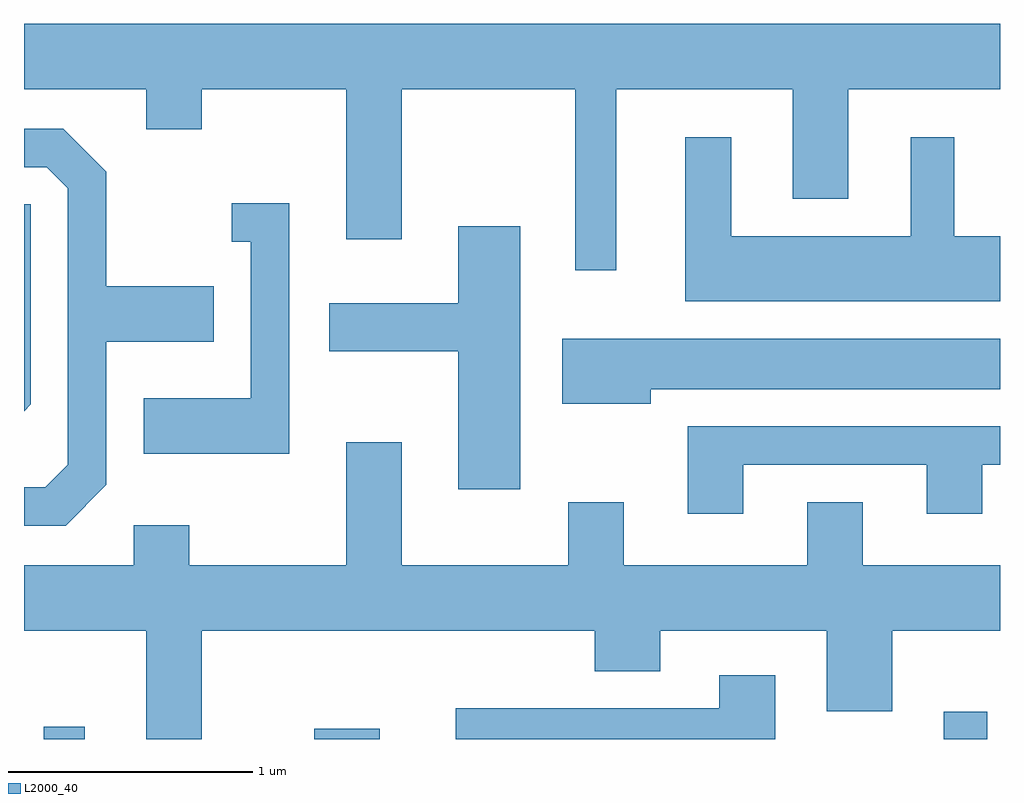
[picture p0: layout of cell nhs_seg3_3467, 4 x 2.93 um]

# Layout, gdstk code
import gdstk
lib = gdstk.Library(unit=1e-6, precision=1e-09)
def R(c, l, rs):  # rectangles x0, y0, x1, y1
    for r in rs: c.add(gdstk.rectangle(r[:2], r[2:], *l))
def P(c, l, *ps):  # polygons
    for p in ps: c.add(gdstk.Polygon(p, *l))
L2000_40 = (2000, 40)

nhs_seg3_3467 = lib.new_cell('nhs_seg3_3467')
R(nhs_seg3_3467, L2000_40, [(285.691,1249.892,285.859,1249.943), (286.801,1249.892,287.069,1249.934), (289.381,1249.892,289.559,1250.004)])
P(nhs_seg3_3467, L2000_40, [(288.039,1252.556),(288.761,1252.556),(288.761,1252.106),(288.989,1252.106),(288.989,1252.556),(289.611,1252.556),(289.611,1252.824),(285.611,1252.824),(285.611,1252.556),(286.111,1252.556),(286.111,1252.391),(286.339,1252.391),(286.339,1252.556),(286.931,1252.556),(286.931,1251.941),(287.159,1251.941),(287.159,1252.556),(287.871,1252.556),(287.871,1251.813),(288.039,1251.813)],
  [(285.949,1250.934),(285.949,1251.521),(286.389,1251.521),(286.389,1251.749),(285.949,1251.749),(285.949,1252.217),(285.772,1252.394),(285.611,1252.394),(285.611,1252.236),(285.704,1252.236),(285.791,1252.149),(285.791,1251.017),(285.699,1250.924),(285.611,1250.924),(285.611,1250.766),(285.782,1250.766)],
  [(289.611,1251.954),(289.424,1251.954),(289.424,1252.359),(289.246,1252.359),(289.246,1251.954),(288.509,1251.954),(288.509,1252.359),(288.321,1252.359),(288.321,1251.686),(289.611,1251.686)],
  [(286.699,1252.089),(286.463,1252.089),(286.463,1251.931),(286.541,1251.931),(286.541,1251.289),(286.101,1251.289),(286.101,1251.061),(286.699,1251.061)],
  [(285.639,1251.264),(285.639,1252.084),(285.611,1252.084),(285.611,1251.236)],
  [(287.644,1251.994),(287.391,1251.994),(287.391,1251.679),(286.861,1251.679),(286.861,1251.481),(287.391,1251.481),(287.391,1250.916),(287.644,1250.916)],
  [(288.179,1251.326),(289.611,1251.326),(289.611,1251.534),(287.816,1251.534),(287.816,1251.266),(288.179,1251.266)],
  [(288.559,1251.016),(289.311,1251.016),(289.311,1250.816),(289.539,1250.816),(289.539,1251.016),(289.611,1251.016),(289.611,1251.174),(288.331,1251.174),(288.331,1250.816),(288.559,1250.816)],
  [(286.339,1250.336),(287.951,1250.336),(287.951,1250.171),(288.219,1250.171),(288.219,1250.336),(288.901,1250.336),(288.901,1250.006),(289.169,1250.006),(289.169,1250.336),(289.611,1250.336),(289.611,1250.604),(289.049,1250.604),(289.049,1250.864),(288.821,1250.864),(288.821,1250.604),(288.069,1250.604),(288.069,1250.864),(287.841,1250.864),(287.841,1250.604),(287.159,1250.604),(287.159,1251.109),(286.931,1251.109),(286.931,1250.604),(286.289,1250.604),(286.289,1250.769),(286.061,1250.769),(286.061,1250.604),(285.611,1250.604),(285.611,1250.336),(286.111,1250.336),(286.111,1249.892),(286.339,1249.892)],
  [(288.689,1250.154),(288.461,1250.154),(288.461,1250.019),(287.381,1250.019),(287.381,1249.892),(288.689,1249.892)])

lib.write_gds('nhs_seg3_3467.gds')
